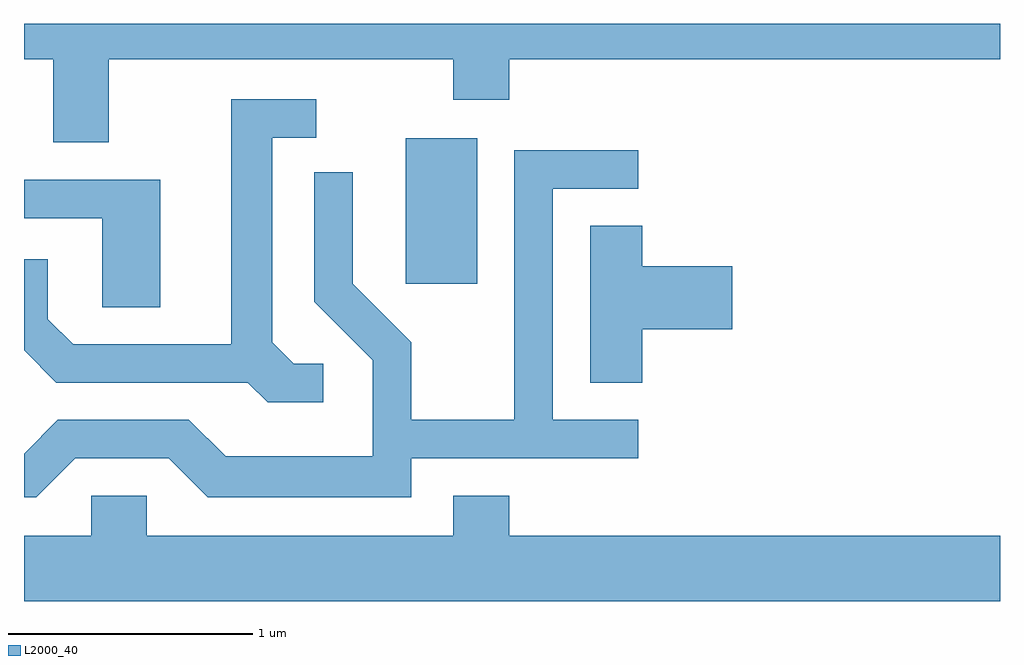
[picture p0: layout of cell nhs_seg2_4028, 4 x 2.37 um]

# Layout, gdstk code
import gdstk
lib = gdstk.Library(unit=1e-6, precision=1e-09)
def R(c, l, rs):  # rectangles x0, y0, x1, y1
    for r in rs: c.add(gdstk.rectangle(r[:2], r[2:], *l))
def P(c, l, *ps):  # polygons
    for p in ps: c.add(gdstk.Polygon(p, *l))
L2000_40 = (2000, 40)

nhs_seg2_4028 = lib.new_cell('nhs_seg2_4028')
R(nhs_seg2_4028, L2000_40, [(305.176,1040.736,305.469,1041.334)])
P(nhs_seg2_4028, L2000_40, [(303.959,1041.656),(305.371,1041.656),(305.371,1041.491),(305.599,1041.491),(305.599,1041.656),(307.611,1041.656),(307.611,1041.802),(303.611,1041.802),(303.611,1041.656),(303.731,1041.656),(303.731,1041.316),(303.959,1041.316)],
  [(304.838,1040.409),(304.717,1040.409),(304.629,1040.497),(304.629,1041.336),(304.808,1041.336),(304.808,1041.494),(304.461,1041.494),(304.461,1040.489),(303.812,1040.489),(303.709,1040.592),(303.709,1040.838),(303.611,1040.838),(303.611,1040.464),(303.744,1040.331),(304.529,1040.331),(304.609,1040.251),(304.838,1040.251)],
  [(303.822,1040.021),(304.204,1040.021),(304.364,1039.861),(305.199,1039.861),(305.199,1040.021),(306.128,1040.021),(306.128,1040.179),(305.779,1040.179),(305.779,1041.126),(306.128,1041.126),(306.128,1041.284),(305.621,1041.284),(305.621,1040.179),(305.199,1040.179),(305.199,1040.497),(304.959,1040.737),(304.959,1041.193),(304.801,1041.193),(304.801,1040.664),(305.041,1040.424),(305.041,1040.029),(304.437,1040.029),(304.287,1040.179),(303.749,1040.179),(303.611,1040.041),(303.611,1039.861),(303.662,1039.861)],
  [(304.169,1041.164),(303.611,1041.164),(303.611,1041.006),(303.931,1041.006),(303.931,1040.641),(304.169,1040.641)],
  [(306.144,1040.551),(306.514,1040.551),(306.514,1040.809),(306.144,1040.809),(306.144,1040.974),(305.931,1040.974),(305.931,1040.331),(306.144,1040.331)],
  [(307.611,1039.704),(305.599,1039.704),(305.599,1039.869),(305.371,1039.869),(305.371,1039.704),(304.114,1039.704),(304.114,1039.869),(303.886,1039.869),(303.886,1039.704),(303.611,1039.704),(303.611,1039.436),(307.611,1039.436)])

lib.write_gds('nhs_seg2_4028.gds')
